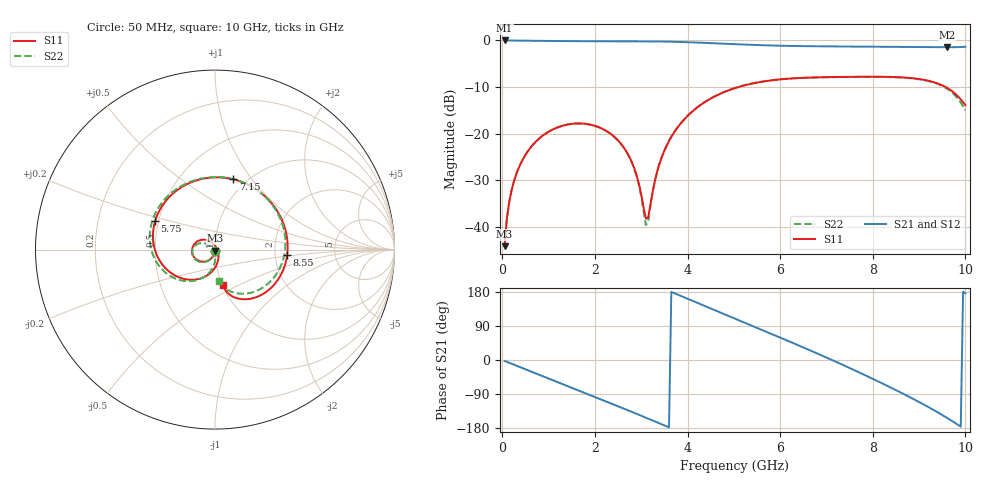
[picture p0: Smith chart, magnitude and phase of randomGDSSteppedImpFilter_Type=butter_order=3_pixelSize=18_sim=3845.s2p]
! freq	dB(S11)	phase(S11)	dB(S12)	phase(S12)
!  dB(S21)	phase(S21)	dB(S22)	phase(S22)
!S-par simulation data
#  GHz  S  DB  R 50
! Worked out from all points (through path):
!   200 points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, 50 MHz to 10 GHz, reference 50 ohm
!   highest |S21| = 0.00 dB at 50 MHz (marker M1); lowest = -1.5 dB at 9.6 GHz (marker M2)
!   group delay of S21, straight-line fit = 147 ps
!   lowest |S11| = -44.2 dB at 50 MHz (marker M3), VSWR 1.01, Z = 50 - j0.616 ohm
!   |S11| at or under -10 dB: start of sweep to 5.103 GHz; 9.572 GHz to end of sweep
!   |S22| runs from -44.2 to -7.8 dB; largest |S21 - S12| = 0
!   S11 on the Smith chart (normalised r, x): 50 MHz: 1.00, -0.01; 5.75 GHz: 0.48, +0.17; 7.15 GHz: 0.87, +0.82; 8.55 GHz: 2.34, -0.16; 10 GHz: 1.01, -0.41
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0.05  -44.19 -92.0  -0.00 -2.5  -0.00 -2.5  -44.19 -91.9
0.1  -38.19 -94.9  -0.01 -5.0  -0.01 -5.0  -38.18 -94.6
0.2  -32.21 -100.1  -0.02 -9.9  -0.02 -9.9  -32.21 -99.5
0.5  -24.58 -115.8  -0.05 -24.6  -0.05 -24.6  -24.58 -114.3
1.05  -19.33 -143.8  -0.11 -51.3  -0.11 -51.3  -19.33 -140.4
1.75  -17.86 -179.6  -0.17 -85.2  -0.17 -85.2  -17.88 -172.9
2.65  -23.39 129.1  -0.17 -129.5  -0.17 -129.5  -23.45 148.6
2.9  -28.96 106.8  -0.17 -142.0  -0.17 -142.0  -29.18 144.6
3.1  -38.30 41.5  -0.18 -152.2  -0.18 -152.2  -39.67 -167.6
3.15  -38.01 1.1  -0.19 -154.7  -0.19 -154.7  -38.95 -126.7
3.4  -26.33 -66.6  -0.22 -167.5  -0.22 -167.5  -26.25 -88.5
4  -16.23 -108.2  -0.37 161.6  -0.37 161.6  -16.17 -109.7
5.05  -10.16 -166.8  -0.81 107.7  -0.81 107.7  -10.12 -158.3
5.75  -8.65 154.7  -1.07 72.0  -1.07 72.0  -8.62 168.8
6.7  -7.96 101.3  -1.25 22.6  -1.25 22.6  -7.96 123.2
7.15  -7.86 75.4  -1.28 -1.7  -1.28 -1.7  -7.89 100.4
7.7  -7.80 43.8  -1.33 -32.4  -1.33 -32.4  -7.84 70.7
8.35  -7.82 7.1  -1.40 -70.4  -1.40 -70.4  -7.87 32.6
8.55  -7.89 -4.0  -1.41 -82.5  -1.41 -82.5  -7.94 20.1
9.1  -8.45 -34.4  -1.45 -117.4  -1.45 -117.4  -8.51 -16.4
9.6  -10.15 -62.5  -1.47 -152.5  -1.47 -152.5  -10.36 -53.6
10  -13.91 -76.4  -1.36 175.7  -1.36 175.7  -14.99 -82.9
